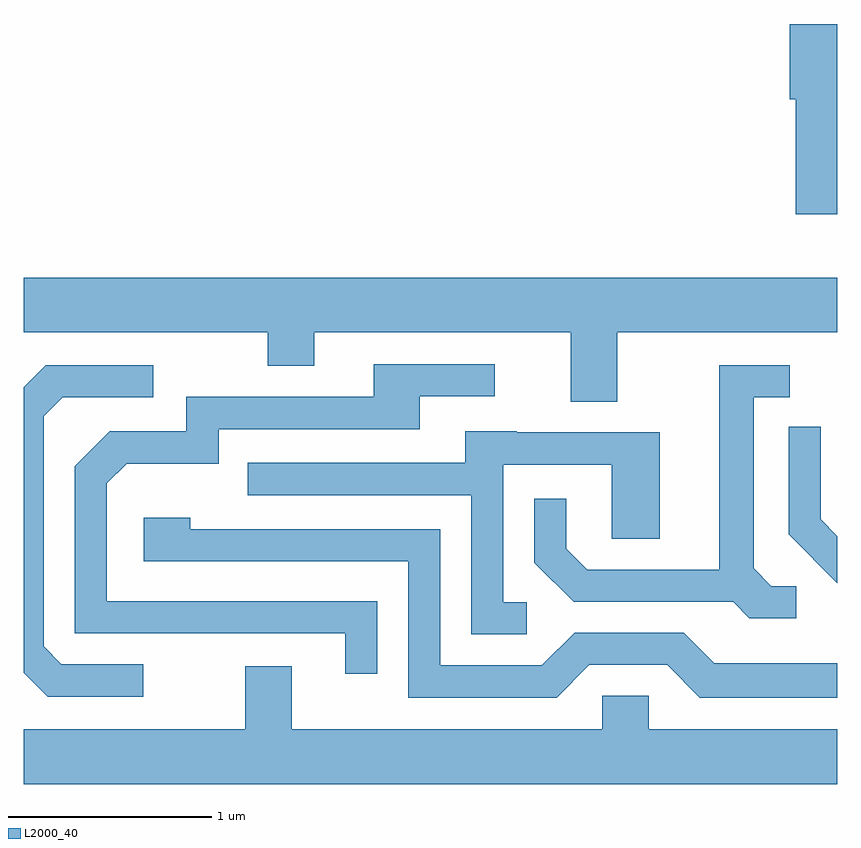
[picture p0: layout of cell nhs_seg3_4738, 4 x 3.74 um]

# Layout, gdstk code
import gdstk
lib = gdstk.Library(unit=1e-6, precision=1e-09)
def P(c, l, *ps):  # polygons
    for p in ps: c.add(gdstk.Polygon(p, *l))
L2000_40 = (2000, 40)

nhs_seg3_4738 = lib.new_cell('nhs_seg3_4738')
P(nhs_seg3_4738, L2000_40, [(327.611,1211.892),(327.376,1211.892),(327.376,1211.521),(327.406,1211.521),(327.406,1210.956),(327.611,1210.956)],
  [(326.529,1210.376),(327.611,1210.376),(327.611,1210.644),(323.611,1210.644),(323.611,1210.376),(324.811,1210.376),(324.811,1210.211),(325.039,1210.211),(325.039,1210.376),(326.301,1210.376),(326.301,1210.036),(326.529,1210.036)],
  [(325.349,1209.054),(324.019,1209.054),(324.019,1209.634),(324.117,1209.731),(324.569,1209.731),(324.569,1209.901),(325.559,1209.901),(325.559,1210.061),(325.928,1210.061),(325.928,1210.219),(325.331,1210.219),(325.331,1210.059),(324.411,1210.059),(324.411,1209.889),(324.034,1209.889),(323.861,1209.717),(323.861,1208.896),(325.191,1208.896),(325.191,1208.698),(325.349,1208.698)],
  [(327.408,1209.129),(327.287,1209.129),(327.199,1209.217),(327.199,1210.056),(327.378,1210.056),(327.378,1210.214),(327.031,1210.214),(327.031,1209.209),(326.382,1209.209),(326.279,1209.312),(326.279,1209.558),(326.121,1209.558),(326.121,1209.244),(326.314,1209.051),(327.099,1209.051),(327.179,1208.971),(327.408,1208.971)],
  [(324.198,1208.744),(323.797,1208.744),(323.709,1208.832),(323.709,1209.964),(323.802,1210.056),(324.248,1210.056),(324.248,1210.214),(323.719,1210.214),(323.611,1210.107),(323.611,1208.704),(323.729,1208.586),(324.198,1208.586)],
  [(327.611,1209.375),(327.529,1209.457),(327.529,1209.913),(327.371,1209.913),(327.371,1209.384),(327.611,1209.144)],
  [(326.083,1209.049),(325.969,1209.049),(325.969,1209.726),(326.501,1209.726),(326.501,1209.361),(326.739,1209.361),(326.739,1209.884),(326.035,1209.884),(326.035,1209.889),(325.781,1209.889),(325.781,1209.734),(324.713,1209.734),(324.713,1209.576),(325.811,1209.576),(325.811,1208.891),(326.083,1208.891)],
  [(326.392,1208.741),(326.774,1208.741),(326.934,1208.581),(327.611,1208.581),(327.611,1208.749),(327.007,1208.749),(326.857,1208.899),(326.319,1208.899),(326.159,1208.739),(325.659,1208.739),(325.659,1209.409),(324.429,1209.409),(324.429,1209.464),(324.201,1209.464),(324.201,1209.251),(325.501,1209.251),(325.501,1208.581),(326.232,1208.581)],
  [(327.611,1208.424),(326.684,1208.424),(326.684,1208.589),(326.456,1208.589),(326.456,1208.424),(324.929,1208.424),(324.929,1208.734),(324.701,1208.734),(324.701,1208.424),(323.611,1208.424),(323.611,1208.156),(327.611,1208.156)])

lib.write_gds('nhs_seg3_4738.gds')
